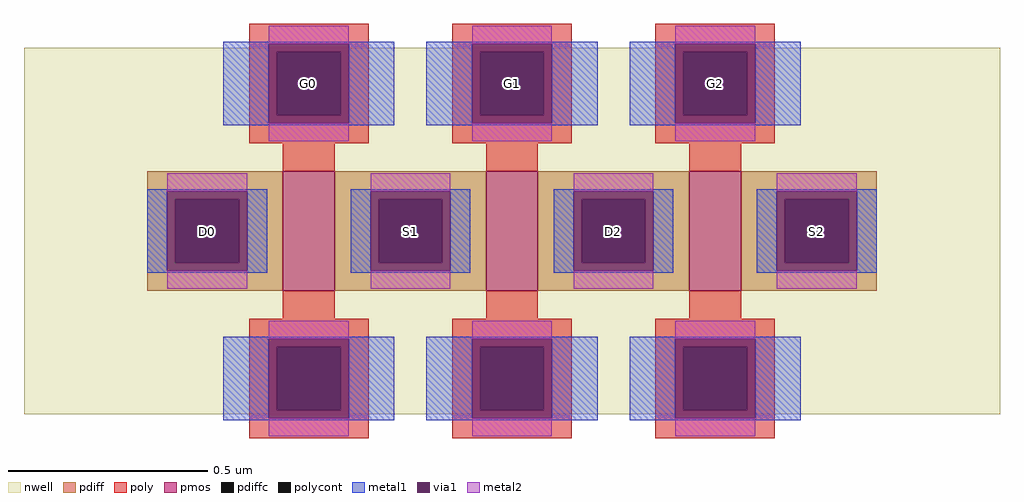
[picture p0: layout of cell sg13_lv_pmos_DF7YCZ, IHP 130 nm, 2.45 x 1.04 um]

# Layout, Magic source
magic
tech ihp-sg13cmos5l
magscale 1 2
<< nwell >>
rect -245 -92 245 92
<< pmos >>
rect -115 -30 -89 30
rect -13 -30 13 30
rect 89 -30 115 30
<< pdiff >>
rect -183 16 -115 30
rect -183 -16 -169 16
rect -137 -16 -115 16
rect -183 -30 -115 -16
rect -89 16 -13 30
rect -89 -16 -67 16
rect -35 -16 -13 16
rect -89 -30 -13 -16
rect 13 16 89 30
rect 13 -16 35 16
rect 67 -16 89 16
rect 13 -30 89 -16
rect 115 16 183 30
rect 115 -16 137 16
rect 169 -16 183 16
rect 115 -30 183 -16
<< pdiffc >>
rect -169 -16 -137 16
rect -67 -16 -35 16
rect 35 -16 67 16
rect 137 -16 169 16
<< poly >>
rect -132 90 -72 104
rect -132 58 -118 90
rect -86 58 -72 90
rect -132 44 -72 58
rect -30 90 30 104
rect -30 58 -16 90
rect 16 58 30 90
rect -30 44 30 58
rect 72 90 132 104
rect 72 58 86 90
rect 118 58 132 90
rect 72 44 132 58
rect -115 30 -89 44
rect -13 30 13 44
rect 89 30 115 44
rect -115 -44 -89 -30
rect -13 -44 13 -30
rect 89 -44 115 -30
rect -132 -58 -72 -44
rect -132 -90 -118 -58
rect -86 -90 -72 -58
rect -132 -104 -72 -90
rect -30 -58 30 -44
rect -30 -90 -16 -58
rect 16 -90 30 -58
rect -30 -104 30 -90
rect 72 -58 132 -44
rect 72 -90 86 -58
rect 118 -90 132 -58
rect 72 -104 132 -90
<< polycont >>
rect -118 58 -86 90
rect -16 58 16 90
rect 86 58 118 90
rect -118 -90 -86 -58
rect -16 -90 16 -58
rect 86 -90 118 -58
<< metal1 >>
rect -145 94 -59 95
rect -145 54 -122 94
rect -82 54 -59 94
rect -145 53 -59 54
rect -43 94 43 95
rect -43 54 -20 94
rect 20 54 43 94
rect -43 53 43 54
rect 59 94 145 95
rect 59 54 82 94
rect 122 54 145 94
rect 59 53 145 54
rect -183 20 -123 21
rect -183 -20 -173 20
rect -133 -20 -123 20
rect -183 -21 -123 -20
rect -81 20 -21 21
rect -81 -20 -71 20
rect -31 -20 -21 20
rect -81 -21 -21 -20
rect 21 20 81 21
rect 21 -20 31 20
rect 71 -20 81 20
rect 21 -21 81 -20
rect 123 20 183 21
rect 123 -20 133 20
rect 173 -20 183 20
rect 123 -21 183 -20
rect -145 -54 -59 -53
rect -145 -94 -122 -54
rect -82 -94 -59 -54
rect -145 -95 -59 -94
rect -43 -54 43 -53
rect -43 -94 -20 -54
rect 20 -94 43 -54
rect -43 -95 43 -94
rect 59 -54 145 -53
rect 59 -94 82 -54
rect 122 -94 145 -54
rect 59 -95 145 -94
<< via1 >>
rect -122 90 -82 94
rect -122 58 -118 90
rect -118 58 -86 90
rect -86 58 -82 90
rect -122 54 -82 58
rect -20 90 20 94
rect -20 58 -16 90
rect -16 58 16 90
rect 16 58 20 90
rect -20 54 20 58
rect 82 90 122 94
rect 82 58 86 90
rect 86 58 118 90
rect 118 58 122 90
rect 82 54 122 58
rect -173 16 -133 20
rect -173 -16 -169 16
rect -169 -16 -137 16
rect -137 -16 -133 16
rect -173 -20 -133 -16
rect -71 16 -31 20
rect -71 -16 -67 16
rect -67 -16 -35 16
rect -35 -16 -31 16
rect -71 -20 -31 -16
rect 31 16 71 20
rect 31 -16 35 16
rect 35 -16 67 16
rect 67 -16 71 16
rect 31 -20 71 -16
rect 133 16 173 20
rect 133 -16 137 16
rect 137 -16 169 16
rect 169 -16 173 16
rect 133 -20 173 -16
rect -122 -58 -82 -54
rect -122 -90 -118 -58
rect -118 -90 -86 -58
rect -86 -90 -82 -58
rect -122 -94 -82 -90
rect -20 -58 20 -54
rect -20 -90 -16 -58
rect -16 -90 16 -58
rect 16 -90 20 -58
rect -20 -94 20 -90
rect 82 -58 122 -54
rect 82 -90 86 -58
rect 86 -90 118 -58
rect 118 -90 122 -58
rect 82 -94 122 -90
<< metal2 >>
rect -122 94 -82 103
rect -122 45 -82 54
rect -20 94 20 103
rect -20 45 20 54
rect 82 94 122 103
rect 82 45 122 54
rect -173 20 -133 29
rect -173 -29 -133 -20
rect -71 20 -31 29
rect -71 -29 -31 -20
rect 31 20 71 29
rect 31 -29 71 -20
rect 133 20 173 29
rect 133 -29 173 -20
rect -122 -54 -82 -45
rect -122 -103 -82 -94
rect -20 -54 20 -45
rect -20 -103 20 -94
rect 82 -54 122 -45
rect 82 -103 122 -94
<< labels >>
rlabel pdiffc -153 0 -153 0 0 D0
port 8 nsew
rlabel polycont -102 74 -102 74 0 G0
port 9 nsew
rlabel pdiffc -51 0 -51 0 0 S1
port 10 nsew
rlabel polycont 0 74 0 74 0 G1
port 11 nsew
rlabel pdiffc 51 0 51 0 0 D2
port 12 nsew
rlabel pdiffc 153 0 153 0 0 S2
port 13 nsew
rlabel polycont 102 74 102 74 0 G2
port 14 nsew
<< properties >>
string gencell sg13_lv_pmos
string library sg13cmos5l
string parameters w 0.3 l 0.13 m 1 ng 3 diffcov 100 polycov 100 guard 0 glc 1 grc 1 gtc 1 gbc 1 tbcov 100 rlcov 100 topc 1 botc 1 poverlap 0 doverlap 1 lmin 0.13 wmin 0.15 class mosfet compatible {sg13_lv_pmos sg13_hv_pmos} full_metal 1 conn_gates 0 gate_ring 0 ccols 1 viasrc 100 viadrn 100 viagate 100 viagb 0 viagr 0 viagl 0 viagt 0 doports 1
<< end >>
